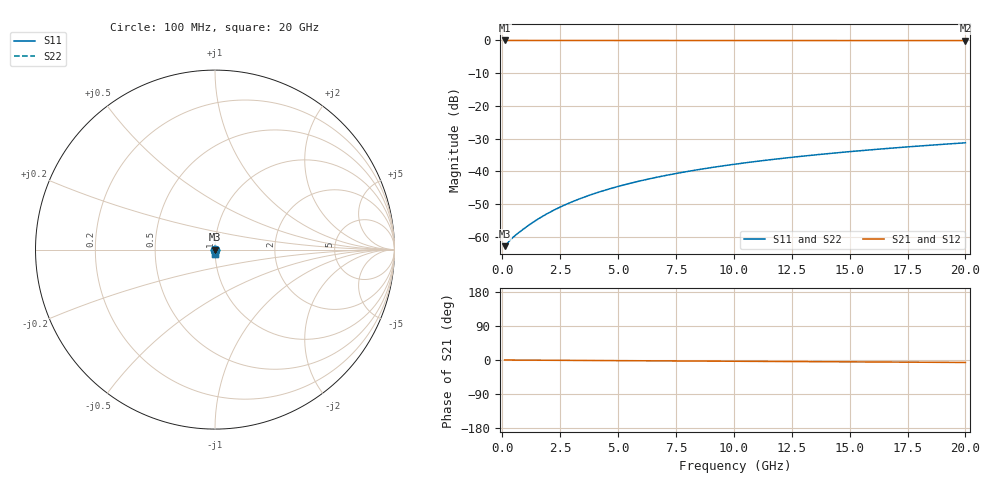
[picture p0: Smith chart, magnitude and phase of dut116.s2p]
! Touchstone file exported from HFSS 2026.1.0
!  File:  C:/ffzhzh/LocalFiles/Ansys_Project_Files/temp_train_BSMRDL_116_1782985931_41620.aedt
!  Generated:  05:53:22 PM Jul  2, 2026
!  Design:  BSMRDL
!  Project:  temp_train_BSMRDL_116_1782985931_41620
! Variables:
!  h_bsmrdl = 5.88um
!  h_ox = 20um
!  h_rdl = 5um
!  h_sub = 80um
!  h_tmrdl = 5um
!  h_tsv = 80um
!  h_via = 3um
!  l_bsmrdl = 110.67um
!  l_sub = 510.67um
!  l_tmrdl = 200um
!  m_sub = 200um
!  pitch = 13.62um
!  r_tsv = 6um
!  s_tmrdl = 10um
!  w_bsmrdl = 11.08um
!  w_sub = 500um
!  w_tmrdl = 12um
!  x_tsv_center1 = 206um
!  x_tsv_center2 = 327.75um
!  x_tsv_center3 = 539.75um
!  x_tsv_center4 = 661.5um
!  x_tsv_center5 = 873.5um
!  x_tsv_center6 = 995.25um
# GHz S MA R 50.000000
! Terminal data exported
! Port[1] = BSM_RDL1_1_T1
! Port[2] = BSM_RDL1_1_T2
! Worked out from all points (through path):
!   200 points, 100 MHz to 20 GHz, reference 50 ohm
!   highest |S21| = -0.01 dB at 100 MHz (marker M1); lowest = 0.0 dB at 20 GHz (marker M2)
!   lowest |S11| = -62.9 dB at 100 MHz (marker M3), VSWR 1.00, Z = 50.1 + j0.000375 ohm
!   |S11| at or under -10 dB: start of sweep to end of sweep
!   |S22| runs from -62.9 to -31.3 dB; largest |S21 - S12| = 1.5e-15
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0.1  0.0007182 0.3  0.9993 -0.0  0.9993 -0.0  0.0007182 0.3
! Gamma 0 0 0 0
! Port Impedance 50 0 50 0
0.4  0.0009341 -11.9  0.9991 -0.1  0.9991 -0.1  0.0009341 -11.9
0.6  0.001077 -22.3  0.999 -0.2  0.999 -0.2  0.001077 -22.3
1.1  0.001466 -40.9  0.9989 -0.4  0.9989 -0.4  0.001466 -40.9
1.6  0.001918 -51.3  0.9988 -0.6  0.9988 -0.6  0.001918 -51.3
2  0.002315 -56.6  0.9987 -0.7  0.9987 -0.7  0.002315 -56.6
2.5  0.002844 -60.9  0.9986 -0.9  0.9986 -0.9  0.002844 -60.9
3  0.003404 -63.9  0.9984 -1.0  0.9984 -1.0  0.003404 -63.9
3.5  0.003991 -66.1  0.9983 -1.2  0.9983 -1.2  0.003991 -66.1
4.2  0.004849 -68.5  0.9981 -1.4  0.9981 -1.4  0.004849 -68.5
5  0.005873 -70.5  0.9979 -1.7  0.9979 -1.7  0.005873 -70.5
5.9  0.007067 -72.4  0.9976 -2.0  0.9976 -2.0  0.007067 -72.3
6.8  0.008292 -73.9  0.9974 -2.3  0.9974 -2.3  0.008292 -73.9
7.5  0.009261 -75.0  0.9972 -2.5  0.9972 -2.5  0.009261 -75.0
8.3  0.01038 -76.1  0.997 -2.8  0.997 -2.8  0.01038 -76.1
9.2  0.01165 -77.3  0.9968 -3.0  0.9968 -3.0  0.01165 -77.3
10.1  0.01293 -78.4  0.9966 -3.3  0.9966 -3.3  0.01293 -78.3
11.7  0.01522 -80.0  0.9962 -3.8  0.9962 -3.8  0.01522 -80.0
13.4  0.01767 -81.5  0.9959 -4.4  0.9959 -4.4  0.01767 -81.5
15  0.01999 -82.8  0.9956 -4.9  0.9956 -4.9  0.01999 -82.8
16.7  0.02246 -84.1  0.9953 -5.4  0.9953 -5.4  0.02246 -84.0
20  0.02728 -86.2  0.9947 -6.5  0.9947 -6.5  0.02728 -86.1
